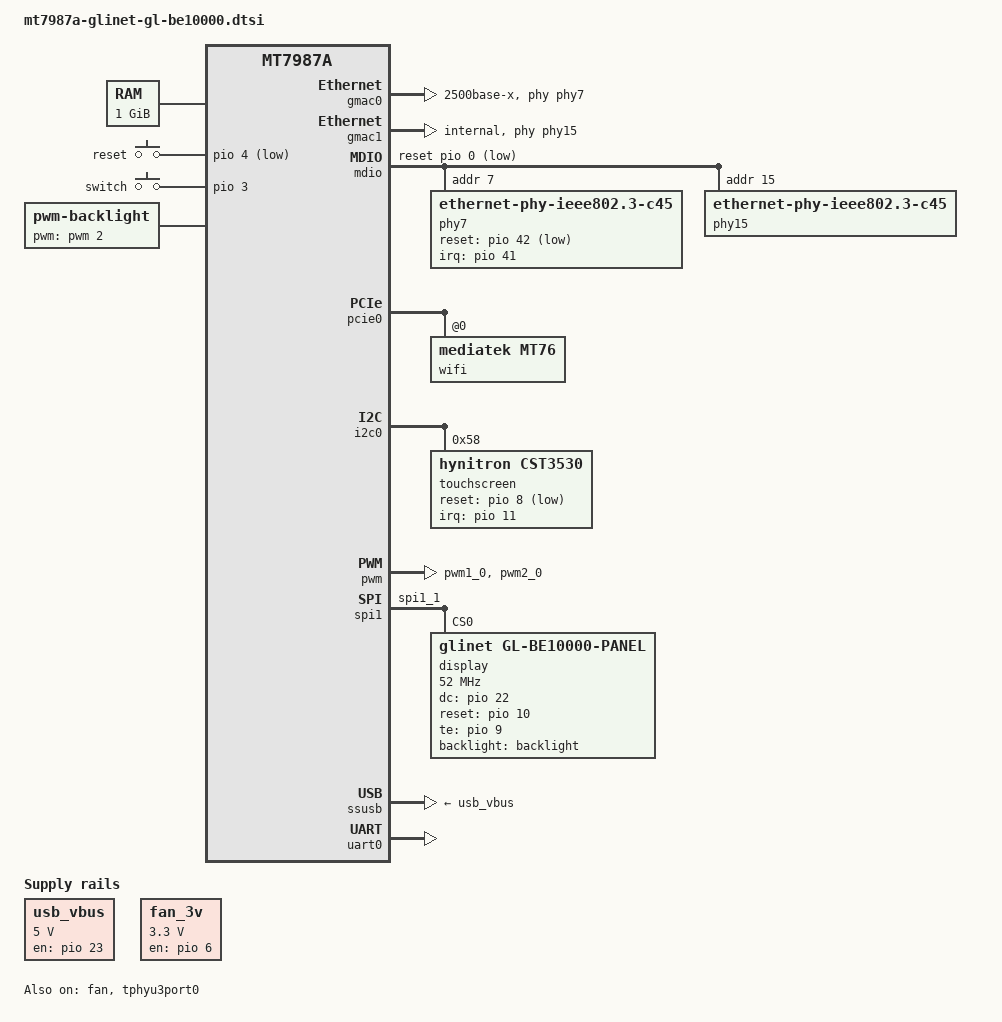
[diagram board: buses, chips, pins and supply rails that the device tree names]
// SPDX-License-Identifier: GPL-2.0-or-later OR MIT

#include "mt7987a.dtsi"
#include <dt-bindings/input/input.h>

#define GL_BE10000_NVMEM_LAYOUT				\
	nvmem-layout {					\
		compatible = "fixed-layout";		\
		#address-cells = <1>;			\
		#size-cells = <1>;			\
							\
		eeprom_factory_0: eeprom@0 {		\
			reg = <0x0 0x1e00>;		\
		};					\
							\
		macaddr_factory_4: macaddr@4000 {	\
			reg = <0x4000 0x6>;		\
			compatible = "mac-base";	\
			#nvmem-cell-cells = <1>;	\
		};					\
	}

/ {
	memory@40000000 {
		device_type = "memory";
		reg = <0 0x40000000 0 0x40000000>;
	};

	aliases {
		serial0 = &uart0;
		label-mac-device = &gmac0;
	};

	gpio-keys {
		compatible = "gpio-keys";

		button-reset {
			label = "reset";
			linux,code = <KEY_RESTART>;
			gpios = <&pio 4 GPIO_ACTIVE_LOW>;
			debounce-interval = <10>;
		};

		button-switch {
			label = "switch";
			linux,code = <BTN_0>;
			gpios = <&pio 3 GPIO_ACTIVE_HIGH>;
			debounce-interval = <10>;
			linux,input-type = <EV_SW>;
		};
	};

	usb_vbus: regulator-usb-vbus {
		compatible = "regulator-fixed";
		enable-active-high;
		gpios = <&pio 23 GPIO_ACTIVE_HIGH>;
		regulator-name = "usb_vbus";
		regulator-boot-on;
		regulator-min-microvolt = <5000000>;
		regulator-max-microvolt = <5000000>;
	};

	backlight: backlight {
		compatible = "pwm-backlight";
		pwms = <&pwm 2 50000>;
		brightness-levels = <0 16 32 48 64 80 96 112 128 144 160 176 192 208 224 255>;
		default-brightness-level = <12>;
	};

	fan_3v: regulator-fan-3p3v {
		compatible = "regulator-fixed";
		enable-active-high;
		gpios = <&pio 6 GPIO_ACTIVE_HIGH>;
		regulator-name = "fan";
		regulator-min-microvolt = <3300000>;
		regulator-max-microvolt = <3300000>;
	};
};

&cpu_thermal {
	polling-delay-passive = <0>;
	polling-delay = <1000>;
	critical-action = "reboot";

	/delete-node/ cooling-maps;
	/delete-node/ trips;

	trips {
		cpu_crit: critical {
			temperature = <125000>;
			hysteresis = <4000>;
			type = "critical";
		};

		cpu_hot: hot {
			temperature = <120000>;
			hysteresis = <4000>;
			type = "hot";
		};

		cpu_active_high: active-high {
			temperature = <110000>;
			hysteresis = <4000>;
			type = "active";
		};

		cpu_active_med: active-med {
			temperature = <80000>;
			hysteresis = <4000>;
			type = "active";
		};

		cpu_active_low: active-low {
			temperature = <60000>;
			hysteresis = <4000>;
			type = "active";
		};

		cpu_active_silent: active-silent {
			temperature = <40000>;
			hysteresis = <4000>;
			type = "active";
		};
	};

	cooling-maps {
		map3 {
			trip = <&cpu_active_high>;
			cooling-device = <&fan 3 3>,
					 <&cpu0 THERMAL_NO_LIMIT THERMAL_NO_LIMIT>,
					 <&cpu1 THERMAL_NO_LIMIT THERMAL_NO_LIMIT>,
					 <&cpu2 THERMAL_NO_LIMIT THERMAL_NO_LIMIT>,
					 <&cpu3 THERMAL_NO_LIMIT THERMAL_NO_LIMIT>;
		};

		map2 {
			trip = <&cpu_active_med>;
			cooling-device = <&fan 2 2>;
		};

		map1 {
			trip = <&cpu_active_low>;
			cooling-device = <&fan 1 1>;
		};

		map0 {
			trip = <&cpu_active_silent>;
			cooling-device = <&fan 0 0>;
		};
	};
};

&fan {
	fan-supply = <&fan_3v>;
	interrupt-parent = <&pio>;
	interrupts = <5 IRQ_TYPE_EDGE_RISING>;
	pwms = <&pwm 1 50000>;

	cooling-levels = <61 77 102 128>;
	pulses-per-revolution = <2>;

	status = "okay";
};

&gmac0 {
	phy-mode = "2500base-x";
	phy-handle = <&phy7>;
	status = "okay";
	nvmem-cells = <&macaddr_factory_4 0>;
	nvmem-cell-names = "mac-address";
};

&gmac1 {
	phy-mode = "internal";
	phy-handle = <&phy15>;
	status = "okay";
	nvmem-cells = <&macaddr_factory_4 1>;
	nvmem-cell-names = "mac-address";
};

&mdio {
	reset-gpios = <&pio 0 GPIO_ACTIVE_LOW>;
	reset-delay-us = <10000>;

	phy7: phy@7 {
		compatible = "ethernet-phy-ieee802.3-c45";
		reg = <7>;
		reset-assert-us = <100000>;
		reset-deassert-us = <100000>;
		reset-gpios = <&pio 42 GPIO_ACTIVE_LOW>;
		interrupt-controller;
		#interrupt-cells = <1>;
		interrupt-parent = <&pio>;
		interrupts = <41 IRQ_TYPE_LEVEL_LOW>;
	};

	phy15: phy@f {
		compatible = "ethernet-phy-ieee802.3-c45";
		reg = <15>;
		pinctrl-names = "i2p5gbe-led";
		pinctrl-0 = <&i2p5gbe_led0_pins>;
	};
};

&pcie0 {
	pinctrl-names = "default";
	pinctrl-0 = <&pcie0_pins>;
	status = "okay";

	pcie@0,0 {
		reg = <0x0000 0 0 0 0>;
		#address-cells = <3>;
		#size-cells = <2>;

		wifi@0,0 {
			compatible = "mediatek,mt76";
			reg = <0x0000 0 0 0 0>;

			nvmem-cells = <&eeprom_factory_0>;
			nvmem-cell-names = "eeprom";

			#address-cells = <1>;
			#size-cells = <0>;

			ieee80211-freq-limit = <2400000 2500000>,
					       <5170000 5835000>,
					       <5945000 7125000>;

			band@0 {
				reg = <0>;
				nvmem-cells = <&macaddr_factory_4 2>;
				nvmem-cell-names = "mac-address";
			};

			band@1 {
				reg = <1>;
				nvmem-cells = <&macaddr_factory_4 3>;
				nvmem-cell-names = "mac-address";
			};

			band@2 {
				reg = <2>;
				nvmem-cells = <&macaddr_factory_4 4>;
				nvmem-cell-names = "mac-address";
			};
		};
	};
};

&i2c0 {
	pinctrl-names = "default";
	pinctrl-0 = <&i2c0_pins>;
	status = "okay";

	touchscreen@58 {
		compatible = "hynitron,cst3530";
		reg = <0x58>;

		interrupt-parent = <&pio>;
		interrupts = <11 IRQ_TYPE_EDGE_FALLING>;
		reset-gpios = <&pio 8 GPIO_ACTIVE_LOW>;

		/* the panel is mounted upside down, the display compensates
		 * in its MADCTL and the touch axes follow here
		 */
		touchscreen-size-x = <240>;
		touchscreen-size-y = <320>;
		touchscreen-swapped-x-y;
		touchscreen-inverted-y;
	};
};

&pio {
	pwm1_pins: pwm1-pins {
		mux {
			function = "pwm";
			groups = "pwm1_0";
		};
	};

	pwm2_pins: pwm2-pins {
		mux {
			function = "pwm";
			groups = "pwm2_0";
		};
	};

	spi1_pins: spi1-pins {
		mux {
			function = "spi";
			groups = "spi1_1";
		};
	};
};

&pwm {
	pinctrl-names = "default";
	pinctrl-0 = <&pwm1_pins>, <&pwm2_pins>;
	status = "okay";
};

&spi1 {
	pinctrl-names = "default";
	pinctrl-0 = <&spi1_pins>;
	status = "okay";

	display@0 {
		compatible = "glinet,gl-be10000-panel", "panel-mipi-dbi-spi";
		reg = <0>;
		spi-max-frequency = <52000000>;
		spi-tx-bus-width = <1>;
		spi-rx-bus-width = <0>;
		spi-cpol;
		spi-cpha;

		dc-gpios = <&pio 22 GPIO_ACTIVE_HIGH>;
		reset-gpios = <&pio 10 GPIO_ACTIVE_HIGH>;
		te-gpios = <&pio 9 GPIO_ACTIVE_HIGH>;
		write-only;

		format = "r5g6b5";
		backlight = <&backlight>;

		/* physical dimensions are approximate; verify against the panel */
		width-mm = <41>;
		height-mm = <31>;

		panel-timing {
			hactive = <320>;
			vactive = <240>;
			hback-porch = <0>;
			vback-porch = <0>;
			clock-frequency = <0>;
			hfront-porch = <0>;
			hsync-len = <0>;
			vfront-porch = <0>;
			vsync-len = <0>;
		};
	};
};

&ssusb {
	vbus-supply = <&usb_vbus>;
	status = "okay";
};

&tphyu3port0 {
	status = "okay";
};

&uart0 {
	pinctrl-names = "default";
	pinctrl-0 = <&uart0_pins>;
	status = "okay";
};
